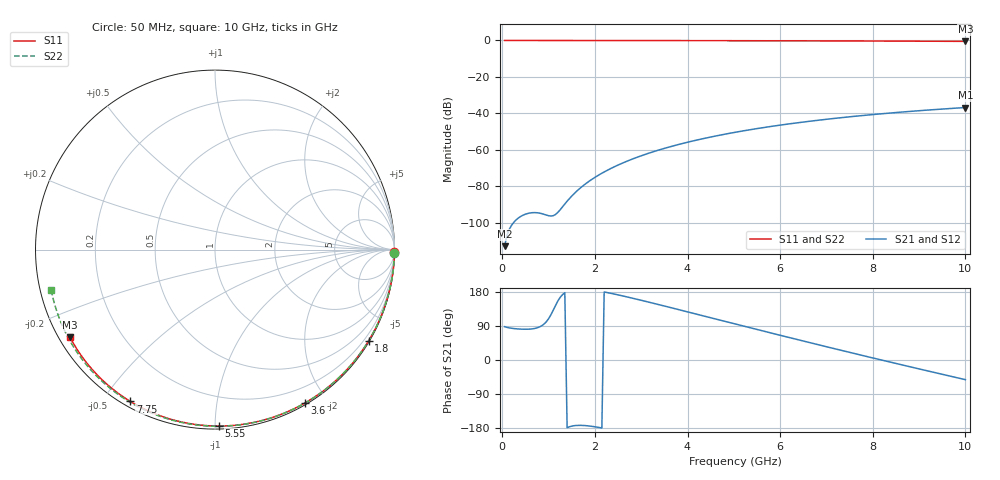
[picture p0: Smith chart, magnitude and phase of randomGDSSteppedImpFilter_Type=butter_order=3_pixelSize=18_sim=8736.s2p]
! freq	dB(S11)	phase(S11)	dB(S12)	phase(S12)
!  dB(S21)	phase(S21)	dB(S22)	phase(S22)
!S-par simulation data
#  GHz  S  DB  R 50
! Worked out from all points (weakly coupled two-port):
!   200 points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, 50 MHz to 10 GHz, reference 50 ohm
!   highest |S21| = -36.77 dB at 10 GHz (marker M1); lowest = -112.7 dB at 50 MHz (marker M2)
!   lowest |S11| = -0.5 dB at 10 GHz (marker M3), VSWR 34.50, Z = 1.56 - j13.9 ohm
!   |S11| at or under -10 dB: nowhere
!   |S22| runs from -0.5 to 0.0 dB; largest |S21 - S12| = 0
!   S11 on the Smith chart (normalised r, x): 50 MHz: open; 1.8 GHz: 0.03, -3.66; 3.6 GHz: 0.02, -1.74; 5.55 GHz: 0.02, -1.02; 7.75 GHz: 0.02, -0.59; 10 GHz: 0.03, -0.28
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0.05  -0.00 -0.9  -112.72 87.9  -112.72 87.9  -0.00 -1.0
0.45  -0.01 -7.8  -95.72 81.2  -95.72 81.2  -0.01 -8.7
0.85  -0.02 -14.6  -94.88 90.2  -94.88 90.2  -0.02 -16.4
1.25  -0.03 -21.4  -92.76 165.3  -92.76 165.3  -0.03 -23.9
1.7  -0.04 -28.9  -80.52 -172.5  -80.52 -172.5  -0.04 -32.4
1.75  -0.04 -29.8  -79.49 -172.7  -79.49 -172.7  -0.04 -33.3
1.8  -0.04 -30.6  -78.52 -173.2  -78.52 -173.2  -0.04 -34.2
2.1  -0.05 -35.6  -73.48 -178.2  -73.48 -178.2  -0.05 -39.8
2.3  -0.05 -38.9  -70.71 177.1  -70.71 177.1  -0.06 -43.4
2.5  -0.05 -42.1  -68.27 171.9  -68.27 171.9  -0.06 -47.1
2.9  -0.06 -48.6  -64.11 160.5  -64.11 160.5  -0.07 -54.2
3.4  -0.08 -56.5  -59.88 145.5  -59.88 145.5  -0.08 -63.0
3.6  -0.08 -59.7  -58.41 139.4  -58.41 139.4  -0.09 -66.5
4.3  -0.10 -70.4  -54.00 117.7  -54.00 117.7  -0.11 -78.3
5.05  -0.13 -81.6  -50.22 94.4  -50.22 94.4  -0.14 -90.6
5.55  -0.15 -88.8  -48.09 79.0  -48.09 79.0  -0.16 -98.5
6.1  -0.17 -96.6  -46.04 62.2  -46.04 62.2  -0.19 -107.1
6.7  -0.20 -104.9  -44.08 44.0  -44.08 44.0  -0.22 -116.3
7.75  -0.28 -119.1  -41.20 12.7  -41.20 12.7  -0.30 -132.0
8.35  -0.33 -127.1  -39.82 -4.8  -39.82 -4.8  -0.36 -141.0
9.2  -0.41 -138.3  -38.12 -29.2  -38.12 -29.2  -0.44 -153.7
10  -0.50 -148.9  -36.77 -51.9  -36.77 -51.9  -0.54 -166.0
